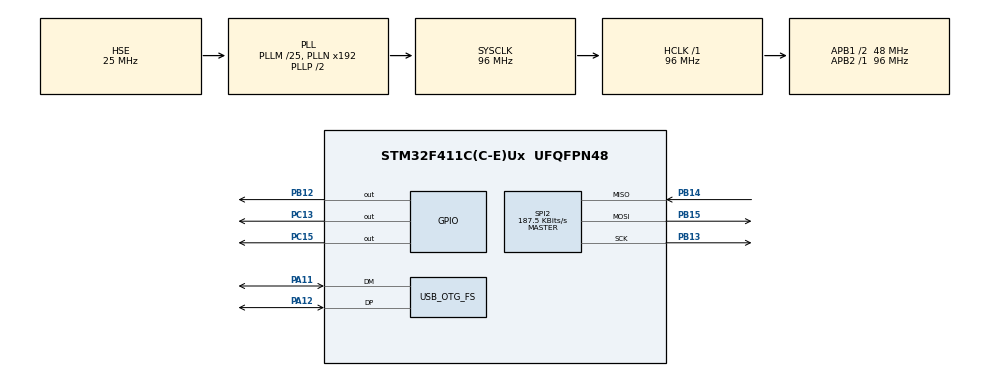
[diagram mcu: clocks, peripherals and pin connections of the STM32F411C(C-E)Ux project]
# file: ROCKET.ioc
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Mcu.Family=STM32F4
Mcu.Name=STM32F411C(C-E)Ux
Mcu.Package=UFQFPN48
NVIC.OTG_FS_IRQn=true\:0\:0\:false\:false\:true\:false\:true\:true
NVIC.PriorityGroup=NVIC_PRIORITYGROUP_4
PA11.Mode=Device_Only
PA11.Signal=USB_OTG_FS_DM
PA12.Mode=Device_Only
PA12.Signal=USB_OTG_FS_DP
PA13.Mode=Serial_Wire
PA13.Signal=SYS_JTMS-SWDIO
PA14.Mode=Serial_Wire
PA14.Signal=SYS_JTCK-SWCLK
PB12.PinState=GPIO_PIN_SET
PB12.Signal=GPIO_Output
PB13.Mode=Full_Duplex_Master
PB13.Signal=SPI2_SCK
PB14.Mode=Full_Duplex_Master
PB14.Signal=SPI2_MISO
PB15.Mode=Full_Duplex_Master
PB15.Signal=SPI2_MOSI
PC13-ANTI_TAMP.Signal=GPIO_Output
PC15-OSC32_OUT.PinState=GPIO_PIN_SET
PC15-OSC32_OUT.Signal=GPIO_Output
PH0\ -\ OSC_IN.Mode=HSE-External-Oscillator
PH0\ -\ OSC_IN.Signal=RCC_OSC_IN
PH1\ -\ OSC_OUT.Mode=HSE-External-Oscillator
PH1\ -\ OSC_OUT.Signal=RCC_OSC_OUT
ProjectManager.HeapSize=0x200
ProjectManager.StackSize=0x400
ProjectManager.TargetToolchain=STM32CubeIDE
RCC.48MHZClocksFreq_Value=48000000
RCC.AHBFreq_Value=96000000
RCC.APB1CLKDivider=RCC_HCLK_DIV2
RCC.APB1Freq_Value=48000000
RCC.APB1TimFreq_Value=96000000
RCC.APB2Freq_Value=96000000
RCC.APB2TimFreq_Value=96000000
RCC.CortexFreq_Value=96000000
RCC.HCLKFreq_Value=96000000
RCC.HSE_VALUE=25000000
RCC.HSI_VALUE=16000000
RCC.LSE_VALUE=32768
RCC.PLLM=25
RCC.SYSCLKFreq_VALUE=96000000
RCC.SYSCLKSource=RCC_SYSCLKSOURCE_PLLCLK
RCC.VCOOutputFreq_Value=192000000
SPI2.BaudRatePrescaler=SPI_BAUDRATEPRESCALER_256
SPI2.CLKPhase=SPI_PHASE_2EDGE
SPI2.CLKPolarity=SPI_POLARITY_HIGH
SPI2.CalculateBaudRate=187.5 KBits/s
SPI2.Direction=SPI_DIRECTION_2LINES
SPI2.Mode=SPI_MODE_MASTER
SPI2.VirtualType=VM_MASTER
USB_DEVICE.CLASS_NAME_FS=CDC
USB_DEVICE.VirtualMode=Cdc
USB_DEVICE.VirtualModeFS=Cdc_FS
USB_OTG_FS.VirtualMode=Device_Only
VP_USB_DEVICE_VS_USB_DEVICE_CDC_FS.Mode=CDC_FS
board=custom

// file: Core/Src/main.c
/* USER CODE BEGIN Header */
/**
  ******************************************************************************
  * @file           : main.c
  * @brief          : Main program body
  ******************************************************************************
  * @attention
  *
  * Copyright (c) 2026 STMicroelectronics.
  * All rights reserved.
  *
  * This software is licensed under terms that can be found in the LICENSE file
  * in the root directory of this software component.
  * If no LICENSE file comes with this software, it is provided AS-IS.
  *
  ******************************************************************************
  */
/* USER CODE END Header */
#include "main.h"
#include "usb_device.h"

/* USER CODE BEGIN Includes */
#include "usbd_cdc_if.h"
#include <string.h>
#include <stdio.h>
#include <stdarg.h>

#include "MPU9250.h"
#include "BMP280.h"
#include "sdcard.h"

/* USER CODE END Includes */

SPI_HandleTypeDef hspi2;

void SystemClock_Config(void);
static void MX_GPIO_Init(void);
static void MX_SPI2_Init(void);

/* USER CODE BEGIN 0 */

MPU9250_t MPU9250;
static BMP280_t bmp280;

void USB_Print(const char* str)
{
    CDC_Transmit_FS((uint8_t*)str, strlen(str));
}

void USB_Printf(const char* format, ...)
{
    char buf[128];
    va_list args;
    va_start(args, format);
    vsnprintf(buf, sizeof(buf), format, args);
    va_end(args);
    CDC_Transmit_FS((uint8_t*)buf, strlen(buf));
}

/* USER CODE END 0 */

int main(void)
{

  /* USER CODE BEGIN 1 */

  MPU9250.settings.gFullScaleRange = GFSR_500DPS;
  MPU9250.settings.aFullScaleRange = AFSR_4G;
  MPU9250.settings.CS_PIN = GPIO_PIN_12;
  MPU9250.settings.CS_PORT = GPIOB;
  MPU9250.attitude.tau = 0.98;
  MPU9250.attitude.dt = 0.004;

  /* USER CODE END 1 */

  /* MCU Configuration--------------------------------------------------------*/

  /* Reset of all peripherals, Initializes the Flash interface and the Systick. */
  HAL_Init();

  /* Configure the system clock */
  SystemClock_Config();

  /* Initialize all configured peripherals */
  MX_GPIO_Init();
  MX_SPI2_Init();
  MX_USB_DEVICE_Init();
  /* USER CODE BEGIN 2 */

  HAL_Delay(1000);

  if (MPU_begin(&hspi2, &MPU9250) != 1)
  {
      USB_Printf("ERROR\n\r");
  }

  HAL_GPIO_WritePin(GPIOC, GPIO_PIN_15, GPIO_PIN_RESET);

  BMP280_Attach(&bmp280, &hspi2, GPIOC, GPIO_PIN_15);
  BMP280_Status_t st = BMP280_Init(&bmp280,
                                    BMP280_OSRS_X2,          /* temp oversampling */
                                    BMP280_OSRS_X16,         /* pressure oversampling */
                                    BMP280_MODE_NORMAL,      /* free-running */
                                    BMP280_STANDBY_62_5MS,   /* time between samples */
                                    BMP280_FILTER_4);        /* IIR filter */

  if (st != BMP280_OK) {
      USB_Printf("BMP280 init failed, err=%d\r\n", (int)st);
  }

  USB_Printf("BMP280 ready\r\n");

  HAL_GPIO_WritePin(GPIOC, GPIO_PIN_15, GPIO_PIN_SET);

  MPU_calibrateGyro(&hspi2, &MPU9250, 1500);

  /* --- Début Code SD Card --- */

  // IMPORTANT : mettre CS à l'état haut AVANT toute autre init SPI
  SDCARD_Unselect();

  int ret = SDCARD_Init();
  if (ret != 0) {
      USB_Printf("SDCARD_Init failed: %d\r\n", ret);
      Error_Handler();
  }
  USB_Printf("SDCARD_Init OK\r\n");

  // Lire le nombre de blocs de la carte
  uint32_t numBlocks = 0;
  if (SDCARD_GetBlocksNumber(&numBlocks) == 0) {
      USB_Printf("Nombre de blocs : %lu (~%lu Mo)\r\n",
                 (unsigned long)numBlocks,
                 (unsigned long)(numBlocks / 2 / 1024));
  } else {
      USB_Printf("Erreur lecture CSD\r\n");
  }

  // Ecrire un bloc de test
  uint8_t writeBuf[512];
  memset(writeBuf, 0xAA, sizeof(writeBuf));
  strcpy((char*)writeBuf, "Hello SD card!");

  if (SDCARD_WriteSingleBlock(0, writeBuf) == 0) {
      USB_Printf("Ecriture bloc 0 OK\r\n");
  } else {
      USB_Printf("Erreur ecriture bloc 0\r\n");
  }

  // Relire ce bloc pour vérifier
  uint8_t readBuf[512] = {0};
  if (SDCARD_ReadSingleBlock(0, readBuf) == 0) {
      USB_Printf("Lecture bloc 0 OK : %s\r\n", (char*)readBuf);
  } else {
      USB_Printf("Erreur lecture bloc 0\r\n");
  }

  // Lecture multi-blocs (blocs 0 à 3)
  uint8_t multiBuf[512];
  if (SDCARD_ReadBegin(0) == 0) {
      for (int i = 0; i < 4; i++) {
          if (SDCARD_ReadData(multiBuf) != 0) {
              USB_Printf("Erreur lecture multi-bloc %d\r\n", i);
              break;
          }
          USB_Printf("Bloc %d lu, premier octet = 0x%02X\r\n", i, multiBuf[0]);
      }
      SDCARD_ReadEnd();
  }

  /* --- Fin Code SD Card --- */

  /* USER CODE END 2 */

  /* Infinite loop */
  /* USER CODE BEGIN WHILE */
  while (1)
  {
      HAL_GPIO_TogglePin(GPIOC, GPIO_PIN_13);

      MPU_calcAttitude(&hspi2, &MPU9250);
      int16_t roll = roundf(10 * MPU9250.attitude.r);
      uint8_t rollDecimal = abs(roll % 10);
      int16_t pitch = roundf(10 * MPU9250.attitude.p);
      uint8_t pitchDecimal = abs(pitch % 10);
      int16_t yaw = roundf(10 * MPU9250.attitude.y);
      uint8_t yawDecimal = abs(yaw % 10);

      USB_Printf("%d.%d,%d.%d,%d.%d\n\r",roll/10, rollDecimal, pitch/10, pitchDecimal, yaw/10, yawDecimal);

      HAL_GPIO_WritePin(GPIOC, GPIO_PIN_15, GPIO_PIN_RESET);

      int32_t t100;
      uint32_t p256;

      if (BMP280_ReadCompensated(&bmp280, &t100, &p256) == BMP280_OK) {
          USB_Printf("T = %ld.%02ld C   P = %lu.%02lu hPa\r\n",
                     t100 / 100, abs((int)(t100 % 100)),
                     p256 / 256, ((p256 % 256) * 100) / 256);
      } else {
          USB_Printf("BMP280 read error\r\n");
      }

      HAL_Delay(1000);

      HAL_GPIO_WritePin(GPIOC, GPIO_PIN_15, GPIO_PIN_SET);

      HAL_Delay(1000);

    /* USER CODE END WHILE */

  }
}

void SystemClock_Config(void)
{
  RCC_OscInitTypeDef RCC_OscInitStruct = {0};
  RCC_ClkInitTypeDef RCC_ClkInitStruct = {0};

  /** Configure the main internal regulator output voltage
  */
  __HAL_RCC_PWR_CLK_ENABLE();
  __HAL_PWR_VOLTAGESCALING_CONFIG(PWR_REGULATOR_VOLTAGE_SCALE1);

  /** Initializes the RCC Oscillators according to the specified parameters
  * in the RCC_OscInitTypeDef structure.
  */
  RCC_OscInitStruct.OscillatorType = RCC_OSCILLATORTYPE_HSE;
  RCC_OscInitStruct.HSEState = RCC_HSE_ON;
  RCC_OscInitStruct.PLL.PLLState = RCC_PLL_ON;
  RCC_OscInitStruct.PLL.PLLSource = RCC_PLLSOURCE_HSE;
  RCC_OscInitStruct.PLL.PLLM = 25;
  RCC_OscInitStruct.PLL.PLLN = 192;
  RCC_OscInitStruct.PLL.PLLP = RCC_PLLP_DIV2;
  RCC_OscInitStruct.PLL.PLLQ = 4;
  if (HAL_RCC_OscConfig(&RCC_OscInitStruct) != HAL_OK)
  {
    Error_Handler();
  }

  /** Initializes the CPU, AHB and APB buses clocks
  */
  RCC_ClkInitStruct.ClockType = RCC_CLOCKTYPE_HCLK|RCC_CLOCKTYPE_SYSCLK
                              |RCC_CLOCKTYPE_PCLK1|RCC_CLOCKTYPE_PCLK2;
  RCC_ClkInitStruct.SYSCLKSource = RCC_SYSCLKSOURCE_PLLCLK;
  RCC_ClkInitStruct.AHBCLKDivider = RCC_SYSCLK_DIV1;
  RCC_ClkInitStruct.APB1CLKDivider = RCC_HCLK_DIV2;
  RCC_ClkInitStruct.APB2CLKDivider = RCC_HCLK_DIV1;

  if (HAL_RCC_ClockConfig(&RCC_ClkInitStruct, FLASH_LATENCY_3) != HAL_OK)
  {
    Error_Handler();
  }
}

static void MX_SPI2_Init(void)
{

  /* SPI2 parameter configuration*/
  hspi2.Instance = SPI2;
  hspi2.Init.Mode = SPI_MODE_MASTER;
  hspi2.Init.Direction = SPI_DIRECTION_2LINES;
  hspi2.Init.DataSize = SPI_DATASIZE_8BIT;
  hspi2.Init.CLKPolarity = SPI_POLARITY_HIGH;
  hspi2.Init.CLKPhase = SPI_PHASE_2EDGE;
  hspi2.Init.NSS = SPI_NSS_SOFT;
  hspi2.Init.BaudRatePrescaler = SPI_BAUDRATEPRESCALER_256;
  hspi2.Init.FirstBit = SPI_FIRSTBIT_MSB;
  hspi2.Init.TIMode = SPI_TIMODE_DISABLE;
  hspi2.Init.CRCCalculation = SPI_CRCCALCULATION_DISABLE;
  hspi2.Init.CRCPolynomial = 10;
  if (HAL_SPI_Init(&hspi2) != HAL_OK)
  {
    Error_Handler();
  }

}

static void MX_GPIO_Init(void)
{
  GPIO_InitTypeDef GPIO_InitStruct = {0};

  /* GPIO Ports Clock Enable */
  __HAL_RCC_GPIOC_CLK_ENABLE();
  __HAL_RCC_GPIOH_CLK_ENABLE();
  __HAL_RCC_GPIOB_CLK_ENABLE();
  __HAL_RCC_GPIOA_CLK_ENABLE();

  /*Configure GPIO pin Output Level */
  HAL_GPIO_WritePin(GPIOC, GPIO_PIN_13, GPIO_PIN_RESET);

  /*Configure GPIO pin Output Level */
  HAL_GPIO_WritePin(GPIOC, GPIO_PIN_15, GPIO_PIN_SET);

  /*Configure GPIO pin Output Level */
  HAL_GPIO_WritePin(GPIOB, GPIO_PIN_12, GPIO_PIN_SET);

  /*Configure GPIO pins : PC13 PC15 */
  GPIO_InitStruct.Pin = GPIO_PIN_13|GPIO_PIN_15;
  GPIO_InitStruct.Mode = GPIO_MODE_OUTPUT_PP;
  GPIO_InitStruct.Pull = GPIO_NOPULL;
  GPIO_InitStruct.Speed = GPIO_SPEED_FREQ_LOW;
  HAL_GPIO_Init(GPIOC, &GPIO_InitStruct);

  /*Configure GPIO pin : PB12 */
  GPIO_InitStruct.Pin = GPIO_PIN_12;
  GPIO_InitStruct.Mode = GPIO_MODE_OUTPUT_PP;
  GPIO_InitStruct.Pull = GPIO_NOPULL;
  GPIO_InitStruct.Speed = GPIO_SPEED_FREQ_LOW;
  HAL_GPIO_Init(GPIOB, &GPIO_InitStruct);

}

void Error_Handler(void)
{
  __disable_irq();
  while (1)
  {
  }
}
